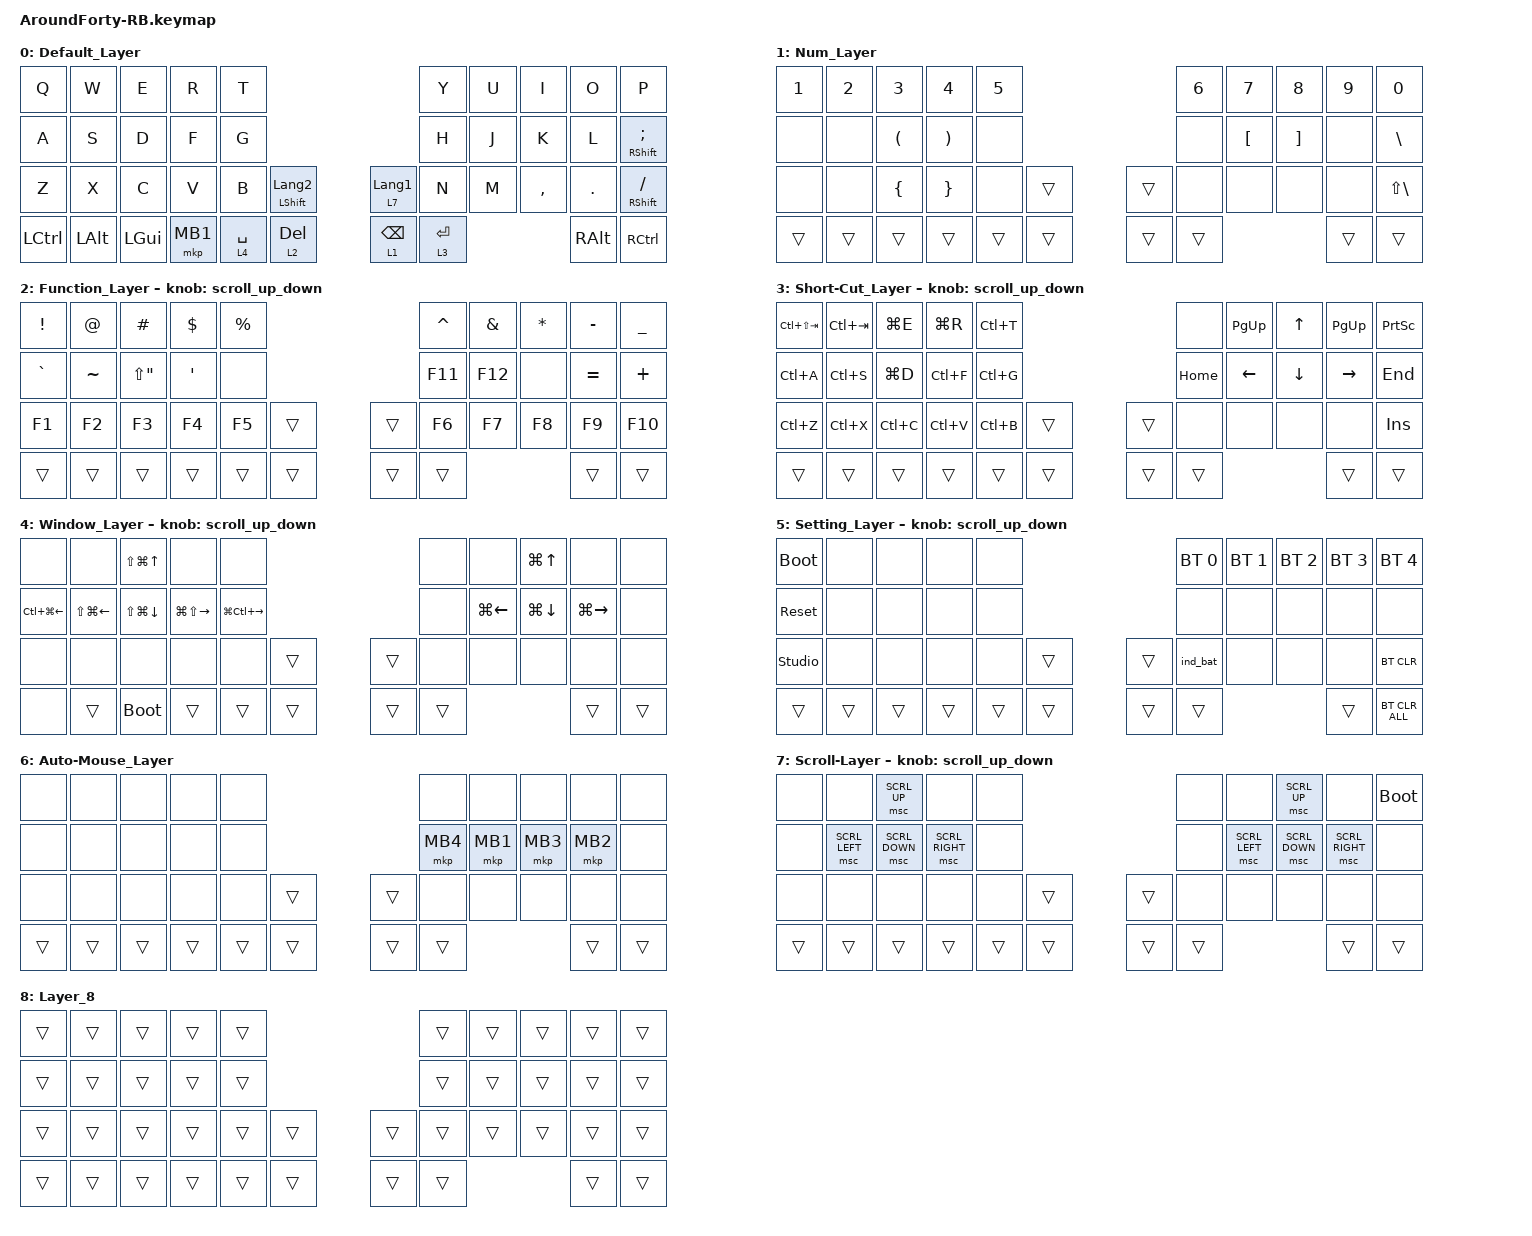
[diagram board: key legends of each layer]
#define MOUSE 6

#include <behaviors/rgbled_widget.dtsi>  // needed to use the behaviors
#include <behaviors.dtsi>
#include <dt-bindings/zmk/bt.h>
#include <dt-bindings/zmk/keys.h>
#include <dt-bindings/zmk/pointing.h>

&mt {
    flavor = "balanced";
    quick-tap-ms = <0>;
};

/ {
    combos {
        compatible = "zmk,combos";

        tab {
            bindings = <&kp TAB>;
            key-positions = <11 12>;
        };

        win {
            bindings = <&kp LEFT_GUI>;
            key-positions = <1 2>;
        };

        esc {
            bindings = <&kp ESCAPE>;
            key-positions = <0 1>;
        };

        mo5 {
            bindings = <&lt 5 ESCAPE>;
            key-positions = <39 36>;
        };
    };

    macros {
        to_layer_0: to_layer_0 {
            compatible = "zmk,behavior-macro-one-param";
            #binding-cells = <1>;
            bindings = <&to 0 &macro_param_1to1 &kp MACRO_PLACEHOLDER>;
            label = "TO_LAYER_0";
        };
    };

    behaviors {
        lt_to_layer_0: lt_to_layer_0 {
            compatible = "zmk,behavior-hold-tap";
            label = "LAYER_TAP_TO_0";
            bindings = <&mo>, <&to_layer_0>;

            #binding-cells = <2>;
            tapping-term-ms = <200>;
        };

        scroll_up_down: behavior_sensor_rotate_mouse_wheel_up_down {
            compatible = "zmk,behavior-sensor-rotate";
            #sensor-binding-cells = <0>;
            bindings = <&msc SCRL_UP>, <&msc SCRL_DOWN>;

            tap-ms = <20>;
        };
    };

    keymap {
        compatible = "zmk,keymap";

        Default_Layer {
            bindings = <
&kp Q      &kp W         &kp E         &kp R     &kp T                                   &kp Y        &kp U             &kp I            &kp O          &kp P
&kp A      &kp S         &kp D         &kp F     &kp G                                   &kp H        &kp J             &kp K            &kp L          &mt RIGHT_SHIFT SEMICOLON
&kp Z      &kp X         &kp C         &kp V     &kp B        &mt LEFT_SHIFT LANGUAGE_2  &kp N        &kp M             &kp COMMA        &kp PERIOD     &mt RIGHT_SHIFT SLASH
&kp LCTRL  &kp LEFT_ALT  &kp LEFT_GUI  &mkp MB1  &lt 4 SPACE  &lt 2 DELETE               &lt 3 ENTER  &lt 7 LANGUAGE_1  &lt 1 BACKSPACE  &kp RIGHT_ALT  &kp RIGHT_CONTROL
            >;
        };

        Num_Layer {
            bindings = <
&kp NUMBER_1  &kp NUMBER_2  &kp NUMBER_3          &kp NUMBER_4           &kp NUMBER_5          &kp NUMBER_6  &kp NUMBER_7      &kp NUMBER_8       &kp NUMBER_9  &kp NUMBER_0
&none         &none         &kp LEFT_PARENTHESIS  &kp RIGHT_PARENTHESIS  &none                 &none         &kp LEFT_BRACKET  &kp RIGHT_BRACKET  &none         &kp BACKSLASH
&none         &none         &kp LEFT_BRACE        &kp RIGHT_BRACE        &none         &trans  &none         &none             &none              &none         &kp LS(BACKSLASH)
&trans        &trans        &trans                &trans                 &trans        &trans  &trans        &trans            &trans             &trans        &trans
            >;
        };

        Function_Layer {
            bindings = <
&kp EXCLAMATION  &kp AT_SIGN  &kp HASH               &kp DOLLAR        &kp PERCENT          &kp CARET  &kp AMPERSAND  &kp ASTERISK  &kp MINUS  &kp UNDERSCORE
&kp GRAVE        &kp TILDE    &kp LS(DOUBLE_QUOTES)  &kp SINGLE_QUOTE  &none                &kp F11    &kp F12        &none         &kp EQUAL  &kp PLUS
&kp F1           &kp F2       &kp F3                 &kp F4            &kp F5       &trans  &kp F6     &kp F7         &kp F8        &kp F9     &kp F10
&trans           &trans       &trans                 &trans            &trans       &trans  &trans     &trans         &trans        &trans     &trans
            >;

            sensor-bindings = <&scroll_up_down>;
        };

        Short-Cut_Layer {
            bindings = <
&kp LC(LS(TAB))  &kp LC(TAB)  &kp LG(E)  &kp LG(R)  &kp LC(T)          &none     &kp PAGE_UP     &kp UP_ARROW    &kp PAGE_UP      &kp PRINTSCREEN
&kp LC(A)        &kp LC(S)    &kp LG(D)  &kp LC(F)  &kp LC(G)          &kp HOME  &kp LEFT_ARROW  &kp DOWN_ARROW  &kp RIGHT_ARROW  &kp END
&kp LC(Z)        &kp LC(X)    &kp LC(C)  &kp LC(V)  &kp LC(B)  &trans  &none     &none           &none           &none            &kp INSERT
&trans           &trans       &trans     &trans     &trans     &trans  &trans    &trans          &trans          &trans           &trans
            >;

            sensor-bindings = <&scroll_up_down>;
        };

        Window_Layer {
            bindings = <
&none                   &none                   &kp LS(LG(UP_ARROW))    &none                    &none                            &none   &none               &kp LG(UP_ARROW)    &none                &none
&kp LC(LG(LEFT_ARROW))  &kp LS(LG(LEFT_ARROW))  &kp LS(LG(DOWN_ARROW))  &kp LG(LS(RIGHT_ARROW))  &kp LG(LC(RIGHT_ARROW))          &none   &kp LG(LEFT_ARROW)  &kp LG(DOWN_ARROW)  &kp LG(RIGHT_ARROW)  &none
&none                   &none                   &none                   &none                    &none                    &trans  &none   &none               &none               &none                &none
&none                   &trans                  &bootloader             &trans                   &trans                   &trans  &trans  &trans              &trans              &trans               &trans
            >;

            sensor-bindings = <&scroll_up_down>;
        };

        Setting_Layer {
            bindings = <
&bootloader     &none   &none   &none   &none           &bt BT_SEL 0  &bt BT_SEL 1  &bt BT_SEL 2  &bt BT_SEL 3  &bt BT_SEL 4
&sys_reset      &none   &none   &none   &none           &none         &none         &none         &none         &none
&studio_unlock  &none   &none   &none   &none   &trans  &ind_bat      &none         &none         &none         &bt BT_CLR
&trans          &trans  &trans  &trans  &trans  &trans  &trans        &trans        &trans        &trans        &bt BT_CLR_ALL
            >;

            sensor-bindings = <&scroll_up_down>;
        };

        Auto-Mouse_Layer {
            bindings = <
&none   &none   &none   &none   &none           &none     &none     &none     &none     &none
&none   &none   &none   &none   &none           &mkp MB4  &mkp MB1  &mkp MB3  &mkp MB2  &none
&none   &none   &none   &none   &none   &trans  &none     &none     &none     &none     &none
&trans  &trans  &trans  &trans  &trans  &trans  &trans    &trans    &trans    &trans    &trans
            >;
        };

        Scroll-Layer {
            bindings = <
&none   &none           &msc SCRL_UP    &none            &none           &none   &none           &msc SCRL_UP    &none            &bootloader
&none   &msc SCRL_LEFT  &msc SCRL_DOWN  &msc SCRL_RIGHT  &none           &none   &msc SCRL_LEFT  &msc SCRL_DOWN  &msc SCRL_RIGHT  &none
&none   &none           &none           &none            &none   &trans  &none   &none           &none           &none            &none
&trans  &trans          &trans          &trans           &trans  &trans  &trans  &trans          &trans          &trans           &trans
            >;

            sensor-bindings = <&scroll_up_down>;
        };

        Layer_8 {
            bindings = <
&trans  &trans  &trans  &trans  &trans          &trans  &trans  &trans  &trans  &trans
&trans  &trans  &trans  &trans  &trans          &trans  &trans  &trans  &trans  &trans
&trans  &trans  &trans  &trans  &trans  &trans  &trans  &trans  &trans  &trans  &trans
&trans  &trans  &trans  &trans  &trans  &trans  &trans  &trans  &trans  &trans  &trans
            >;
        };
    };
};
